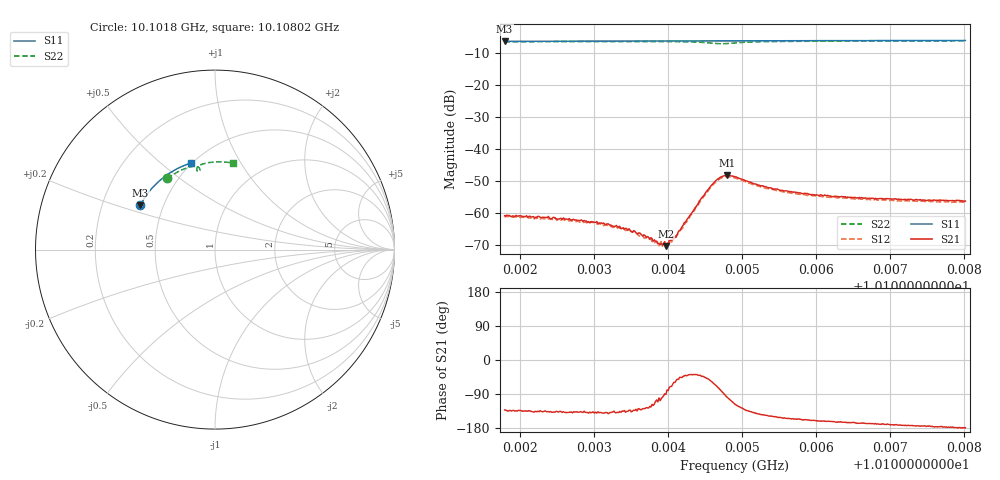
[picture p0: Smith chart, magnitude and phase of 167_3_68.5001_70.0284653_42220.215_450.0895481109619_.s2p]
#  HZ  S  RI  R  50.00
! Rohde & Schwarz Vector Network Analyzer
! Rohde-Schwarz,ZNB20-2Port,1311601062101988,3.16
! Created: UTC 3/20/2024, 4:56:03 PM
! freq[Hz]  re:S11  im:S11  re:S21  im:S21  re:S12  im:S12  re:S22  im:S22
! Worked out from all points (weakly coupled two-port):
!   401 points, 10.1018 GHz to 10.10802 GHz, reference 50 ohm
!   highest |S21| = -48.15 dB at 10.1048 GHz (marker M1); lowest = -70.3 dB at 10.10397 GHz (marker M2)
!   lowest |S11| = -6.3 dB at 10.1018 GHz (marker M3), VSWR 2.88, Z = 18.5 + j12 ohm
!   |S11| at or under -10 dB: nowhere
!   |S22| runs from -7.0 to -6.2 dB; largest |S21 - S12| = 0.00038
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1.0101797e10  -0.4166 0.2476  -0.000609 -0.000679  -0.000517 -0.000688  -0.2657 0.3963
1.0102558e10  -0.3929 0.2876  -0.0006 -0.000576  -0.000528 -0.000568  -0.2239 0.4238
1.0102838e10  -0.3834 0.3017  -0.000575 -0.000526  -0.000506 -0.000526  -0.2078 0.4327
1.0102994e10  -0.3778 0.3091  -0.000528 -0.000492  -0.000488 -0.000518  -0.1986 0.4374
1.010346e10  -0.3603 0.3315  -0.000382 -0.00038  -0.00033 -0.00042  -0.1696 0.4502
1.0103756e10  -0.3485 0.3451  -0.000211 -0.000331  -0.000178 -0.000349  -0.1499 0.4571
1.0103787e10  -0.3472 0.3464  -0.000181 -0.000355  -0.000157 -0.000328  -0.1476 0.4579
1.010388e10  -0.3434 0.3506  -5.77e-05 -0.00033  -5.3e-05 -0.000306  -0.1411 0.4596
1.0103895e10  -0.3427 0.3513  -9.59e-05 -0.000308  -5.11e-05 -0.000331  -0.14 0.46
1.0103973e10  -0.3395 0.3548  -4.05e-06 -0.000306  5.56e-05 -0.000322  -0.1342 0.4613
1.0104051e10  -0.3363 0.3582  0.000137 -0.000359  0.00019 -0.0003  -0.128 0.4626
1.0104113e10  -0.3335 0.3608  0.000251 -0.00034  0.00028 -0.000344  -0.1231 0.4633
1.0104222e10  -0.3289 0.3655  0.000532 -0.000475  0.000526 -0.000411  -0.1139 0.4638
1.0104455e10  -0.3186 0.3753  0.00125 -0.00118  0.00129 -0.00101  -0.0926 0.4586
1.0104611e10  -0.3116 0.3815  0.0014 -0.00253  0.00161 -0.0023  -0.0838 0.4449
1.0104704e10  -0.3074 0.3852  0.000745 -0.00354  0.000998 -0.00331  -0.0881 0.4365
1.0104797e10  -0.3032 0.3888  -0.00052 -0.00388  -0.000169 -0.00374  -0.0972 0.4368
1.0104906e10  -0.2982 0.393  -0.00167 -0.00332  -0.00129 -0.00331  -0.1018 0.4464
1.0105341e10  -0.2776 0.4094  -0.00211 -0.0014  -0.00193 -0.00148  -0.0759 0.4741
1.0105947e10  -0.2472 0.4301  -0.00184 -0.000691  -0.00168 -0.000826  -0.0329 0.4851
1.0106989e10  -0.1918 0.46  -0.00165 -0.000288  -0.00153 -0.000403  0.0365 0.4887
1.0108015e10  -0.1339 0.4822  -0.00154 -3.8e-05  -0.00146 -0.000154  0.1023 0.4818
